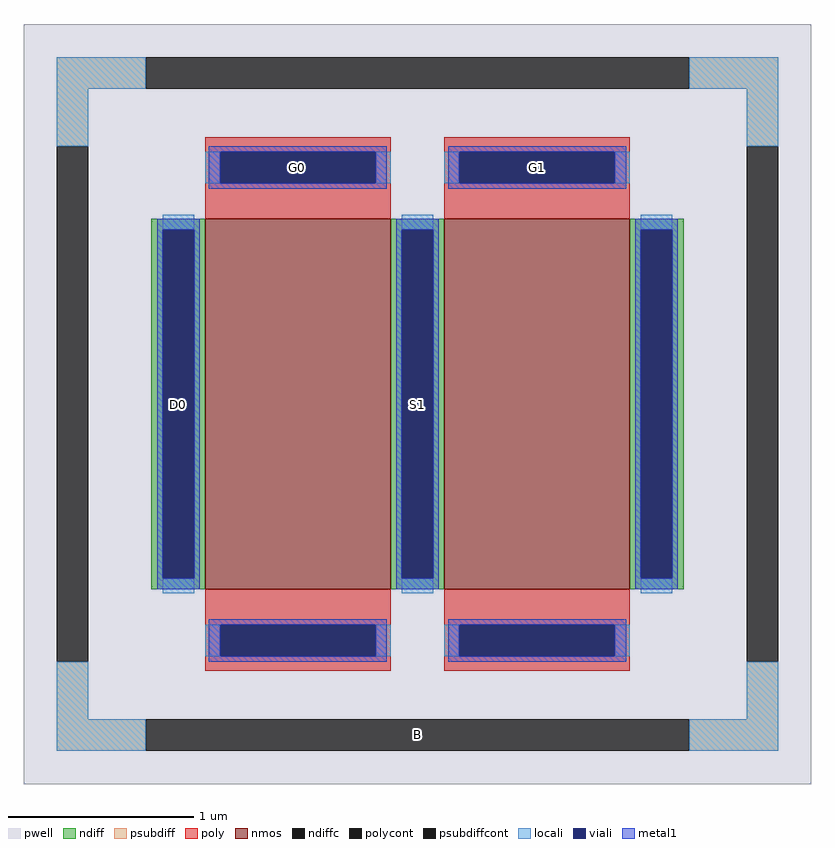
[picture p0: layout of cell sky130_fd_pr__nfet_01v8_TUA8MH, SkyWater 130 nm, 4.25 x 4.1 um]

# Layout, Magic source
magic
tech sky130A
magscale 1 2
<< pwell >>
rect -425 -410 425 410
<< nmos >>
rect -229 -200 -29 200
rect 29 -200 229 200
<< ndiff >>
rect -287 188 -229 200
rect -287 -188 -275 188
rect -241 -188 -229 188
rect -287 -200 -229 -188
rect -29 188 29 200
rect -29 -188 -17 188
rect 17 -188 29 188
rect -29 -200 29 -188
rect 229 188 287 200
rect 229 -188 241 188
rect 275 -188 287 188
rect 229 -200 287 -188
<< ndiffc >>
rect -275 -188 -241 188
rect -17 -188 17 188
rect 241 -188 275 188
<< psubdiff >>
rect -389 340 -293 374
rect 293 340 389 374
rect -389 278 -355 340
rect 355 278 389 340
rect -389 -340 -355 -278
rect 355 -340 389 -278
rect -389 -374 -293 -340
rect 293 -374 389 -340
<< psubdiffcont >>
rect -293 340 293 374
rect -389 -278 -355 278
rect 355 -278 389 278
rect -293 -374 293 -340
<< poly >>
rect -229 272 -29 288
rect -229 238 -213 272
rect -45 238 -29 272
rect -229 200 -29 238
rect 29 272 229 288
rect 29 238 45 272
rect 213 238 229 272
rect 29 200 229 238
rect -229 -238 -29 -200
rect -229 -272 -213 -238
rect -45 -272 -29 -238
rect -229 -288 -29 -272
rect 29 -238 229 -200
rect 29 -272 45 -238
rect 213 -272 229 -238
rect 29 -288 229 -272
<< polycont >>
rect -213 238 -45 272
rect 45 238 213 272
rect -213 -272 -45 -238
rect 45 -272 213 -238
<< locali >>
rect -389 340 -293 374
rect 293 340 389 374
rect -389 278 -355 340
rect 355 278 389 340
rect -229 238 -213 272
rect -45 238 -29 272
rect 29 238 45 272
rect 213 238 229 272
rect -275 188 -241 204
rect -275 -204 -241 -188
rect -17 188 17 204
rect -17 -204 17 -188
rect 241 188 275 204
rect 241 -204 275 -188
rect -229 -272 -213 -238
rect -45 -272 -29 -238
rect 29 -272 45 -238
rect 213 -272 229 -238
rect -389 -340 -355 -278
rect 355 -340 389 -278
rect -389 -374 -293 -340
rect 293 -374 389 -340
<< viali >>
rect -213 238 -45 272
rect 45 238 213 272
rect -275 -188 -241 188
rect -17 -188 17 188
rect 241 -188 275 188
rect -213 -272 -45 -238
rect 45 -272 213 -238
<< metal1 >>
rect -225 272 -33 278
rect -225 238 -213 272
rect -45 238 -33 272
rect -225 232 -33 238
rect 33 272 225 278
rect 33 238 45 272
rect 213 238 225 272
rect 33 232 225 238
rect -281 188 -235 200
rect -281 -188 -275 188
rect -241 -188 -235 188
rect -281 -200 -235 -188
rect -23 188 23 200
rect -23 -188 -17 188
rect 17 -188 23 188
rect -23 -200 23 -188
rect 235 188 281 200
rect 235 -188 241 188
rect 275 -188 281 188
rect 235 -200 281 -188
rect -225 -238 -33 -232
rect -225 -272 -213 -238
rect -45 -272 -33 -238
rect -225 -278 -33 -272
rect 33 -238 225 -232
rect 33 -272 45 -238
rect 213 -272 225 -238
rect 33 -278 225 -272
<< labels >>
rlabel psubdiffcont 0 -357 0 -357 0 B
port 1 nsew
rlabel ndiffc -258 0 -258 0 0 D0
port 2 nsew
rlabel polycont -129 255 -129 255 0 G0
port 3 nsew
rlabel ndiffc 0 0 0 0 0 S1
port 4 nsew
rlabel polycont 129 255 129 255 0 G1
port 5 nsew
<< properties >>
string FIXED_BBOX -372 -357 372 357
string gencell sky130_fd_pr__nfet_01v8
string library sky130
string parameters w 2 l 1 m 1 nf 2 diffcov 100 polycov 100 guard 1 glc 1 grc 1 gtc 1 gbc 1 tbcov 100 rlcov 100 topc 1 botc 1 poverlap 0 doverlap 1 lmin 0.15 wmin 0.42 class mosfet compatible {sky130_fd_pr__nfet_01v8 sky130_fd_pr__nfet_01v8_lvt  sky130_fd_bs_flash__special_sonosfet_star  sky130_fd_pr__nfet_g5v0d10v5 sky130_fd_pr__nfet_05v0_nvt  sky130_fd_pr__nfet_03v3_nvt} full_metal 1 conn_gates 0 viasrc 100 viadrn 100 viagate 100 viagb 0 viagr 0 viagl 0 viagt 0 doports 1
<< end >>
